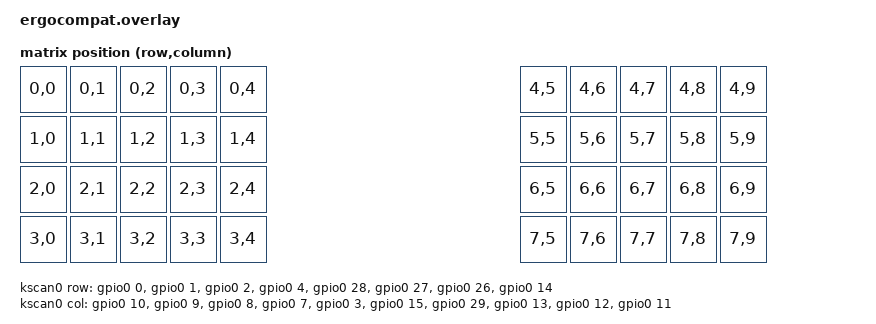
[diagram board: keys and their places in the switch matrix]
#include <dt-bindings/zmk/matrix_transform.h>
#include <physical_layouts.dtsi>

/ {
    chosen {
        zmk,physical-layout = &ergocompat_physical_layout;
    };

    ergocompat_physical_layout: ergocompat_physical_layout {
      compatible = "zmk,physical-layout";
      display-name = "Default Layout";
      transform = <&default_transform>;
      kscan = <&kscan0>;
        keys  //                     w   h    x    y     rot    rx    ry
            = <&key_physical_attrs 100 100    0    0       0     0     0>
            , <&key_physical_attrs 100 100  100    0       0     0     0>
            , <&key_physical_attrs 100 100  200    0       0     0     0>
            , <&key_physical_attrs 100 100  300    0       0     0     0>
            , <&key_physical_attrs 100 100  400    0       0     0     0>
            , <&key_physical_attrs 100 100 1000    0       0     0     0>
            , <&key_physical_attrs 100 100 1100    0       0     0     0>
            , <&key_physical_attrs 100 100 1200    0       0     0     0>
            , <&key_physical_attrs 100 100 1300    0       0     0     0>
            , <&key_physical_attrs 100 100 1400    0       0     0     0>
            , <&key_physical_attrs 100 100    0  100       0     0     0>
            , <&key_physical_attrs 100 100  100  100       0     0     0>
            , <&key_physical_attrs 100 100  200  100       0     0     0>
            , <&key_physical_attrs 100 100  300  100       0     0     0>
            , <&key_physical_attrs 100 100  400  100       0     0     0>
            , <&key_physical_attrs 100 100 1000  100       0     0     0>
            , <&key_physical_attrs 100 100 1100  100       0     0     0>
            , <&key_physical_attrs 100 100 1200  100       0     0     0>
            , <&key_physical_attrs 100 100 1300  100       0     0     0>
            , <&key_physical_attrs 100 100 1400  100       0     0     0>
            , <&key_physical_attrs 100 100    0  200       0     0     0>
            , <&key_physical_attrs 100 100  100  200       0     0     0>
            , <&key_physical_attrs 100 100  200  200       0     0     0>
            , <&key_physical_attrs 100 100  300  200       0     0     0>
            , <&key_physical_attrs 100 100  400  200       0     0     0>
            , <&key_physical_attrs 100 100 1000  200       0     0     0>
            , <&key_physical_attrs 100 100 1100  200       0     0     0>
            , <&key_physical_attrs 100 100 1200  200       0     0     0>
            , <&key_physical_attrs 100 100 1300  200       0     0     0>
            , <&key_physical_attrs 100 100 1400  200       0     0     0>
            , <&key_physical_attrs 100 100    0  300       0     0     0>
            , <&key_physical_attrs 100 100  100  300       0     0     0>
            , <&key_physical_attrs 100 100  200  300       0     0     0>
            , <&key_physical_attrs 100 100  300  300       0     0     0>
            , <&key_physical_attrs 100 100  400  300       0     0     0>
            , <&key_physical_attrs 100 100 1000  300       0     0     0>
            , <&key_physical_attrs 100 100 1100  300       0     0     0>
            , <&key_physical_attrs 100 100 1200  300       0     0     0>
            , <&key_physical_attrs 100 100 1300  300       0     0     0>
            , <&key_physical_attrs 100 100 1400  300       0     0     0>
            ;
    };

    kscan0: kscan {
        compatible = "zmk,kscan-gpio-matrix";
        diode-direction = "col2row";
        wakeup-source;

        col-gpios
            = <&gpio0 10 GPIO_ACTIVE_HIGH>
            , <&gpio0 9 GPIO_ACTIVE_HIGH>
            , <&gpio0 8 GPIO_ACTIVE_HIGH>
            , <&gpio0 7 GPIO_ACTIVE_HIGH>
            , <&gpio0 3 GPIO_ACTIVE_HIGH>
            , <&gpio0 15 GPIO_ACTIVE_HIGH>
            , <&gpio0 29 GPIO_ACTIVE_HIGH>
            , <&gpio0 13 GPIO_ACTIVE_HIGH>
            , <&gpio0 12 GPIO_ACTIVE_HIGH>
            , <&gpio0 11 GPIO_ACTIVE_HIGH>
            ;

        row-gpios
            = <&gpio0 0 (GPIO_ACTIVE_HIGH | GPIO_PULL_DOWN)>
            , <&gpio0 1 (GPIO_ACTIVE_HIGH | GPIO_PULL_DOWN)>
            , <&gpio0 2 (GPIO_ACTIVE_HIGH | GPIO_PULL_DOWN)>
            , <&gpio0 4 (GPIO_ACTIVE_HIGH | GPIO_PULL_DOWN)>
            , <&gpio0 28 (GPIO_ACTIVE_HIGH | GPIO_PULL_DOWN)>
            , <&gpio0 27 (GPIO_ACTIVE_HIGH | GPIO_PULL_DOWN)>
            , <&gpio0 26 (GPIO_ACTIVE_HIGH | GPIO_PULL_DOWN)>
            , <&gpio0 14 (GPIO_ACTIVE_HIGH | GPIO_PULL_DOWN)>
            ;
    };

    default_transform: keymap_transform_0 {
        compatible = "zmk,matrix-transform";
        columns = <10>;
        rows = <4>;
        map = <
          RC(0,0) RC(0,1) RC(0,2) RC(0,3) RC(0,4) RC(4,5) RC(4,6) RC(4,7) RC(4,8) RC(4,9)
          RC(1,0) RC(1,1) RC(1,2) RC(1,3) RC(1,4) RC(5,5) RC(5,6) RC(5,7) RC(5,8) RC(5,9)
          RC(2,0) RC(2,1) RC(2,2) RC(2,3) RC(2,4) RC(6,5) RC(6,6) RC(6,7) RC(6,8) RC(6,9)
          RC(3,0) RC(3,1) RC(3,2) RC(3,3) RC(3,4) RC(7,5) RC(7,6) RC(7,7) RC(7,8) RC(7,9)
        >;
    };
    
};
